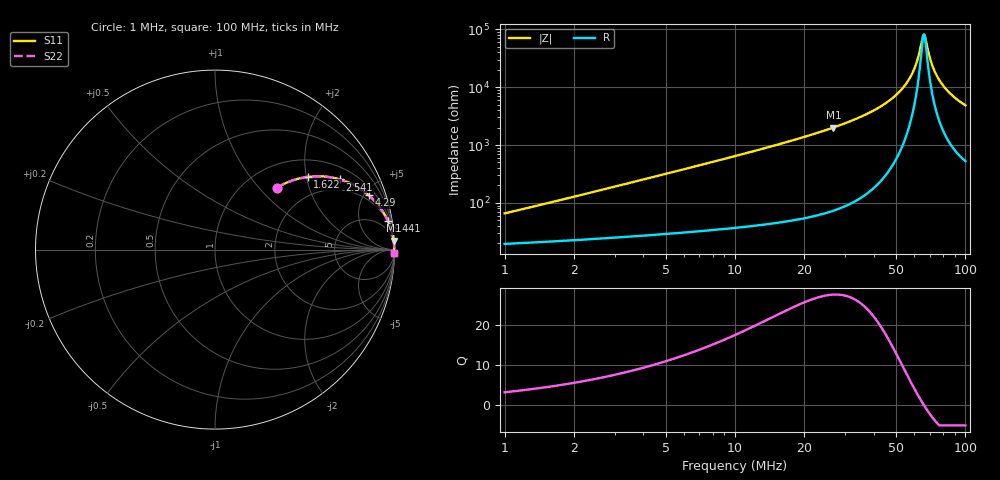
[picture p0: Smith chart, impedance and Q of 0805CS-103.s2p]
# MHz S MA R 50
!Freq  MagS11  AngS11  MagS21  AngS21  MagS12  AngS12  MagS22  AngS22
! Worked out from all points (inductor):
!   801 points, 1 MHz to 100 MHz, reference 50 ohm
!   read as one part in series: L = 10 uH near 1.023 MHz
!   highest Q = 27.4 at 26.76 MHz (marker M1), where L = 12 uH
!   self-resonance near 66.07 MHz
!   S11 on the Smith chart (normalised r, x): 1 MHz: 1.39, +1.26; 1.622 MHz: 1.43, +2.04; 2.541 MHz: 1.48, +3.20; 4.29 MHz: 1.55, +5.41; 9.441 MHz: 2, +12; 100 MHz: 12, -97
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1  0.4874 45.0  0.7406 -27.7  0.7406 -27.7  0.4874 45.0
1.62181  0.6568 38.1  0.6303 -40.0  0.6303 -40.0  0.6568 38.1
2.540973  0.7991 29.3  0.4942 -52.2  0.4942 -52.2  0.7991 29.3
4.290422  0.9092 19.4  0.3341 -64.8  0.3341 -64.8  0.9092 19.4
6.309573  0.9531 13.7  0.2375 -71.8  0.2375 -71.8  0.9531 13.7
9.440609  0.9774 9.3  0.1611 -77.3  0.1611 -77.3  0.9774 9.3
17.57924  0.9931 4.8  0.08348 -82.8  0.08348 -82.8  0.9931 4.8
26.76086  0.997 2.8  0.04955 -85.1  0.04955 -85.1  0.997 2.8
34.08003  0.9981 2.0  0.03422 -85.8  0.03422 -85.8  0.9981 2.0
50.69907  0.9989 0.7  0.01295 -84.6  0.01295 -84.6  0.9989 0.7
55.59043  0.9989 0.5  0.008441 -82.2  0.008441 -82.2  0.9989 0.5
59.22431  0.9989 0.3  0.005416 -77.8  0.005416 -77.8  0.9989 0.3
61.6595  0.9988 0.2  0.003548 -70.9  0.003548 -70.9  0.9988 0.2
65.31306  0.9988 0.0  0.001344 -26.0  0.001344 -26.0  0.9988 0.0
66.06934  0.9988 0.0  0.001221 -1.8  0.001221 -1.8  0.9988 0.0
67.22023  0.9988 -0.0  0.001472 32.4  0.001472 32.4  0.9988 -0.0
70.79458  0.9987 -0.2  0.003533 68.0  0.003533 68.0  0.9987 -0.2
73.70552  0.9986 -0.3  0.005398 74.9  0.005398 74.9  0.9986 -0.3
78.07284  0.9985 -0.5  0.008141 79.0  0.008141 79.0  0.9985 -0.5
83.65656  0.9983 -0.7  0.0115 81.1  0.0115 81.1  0.9983 -0.7
91.72759  0.998 -0.9  0.01607 82.2  0.01607 82.2  0.998 -0.9
100  0.9976 -1.2  0.02048 82.6  0.02048 82.6  0.9976 -1.2
